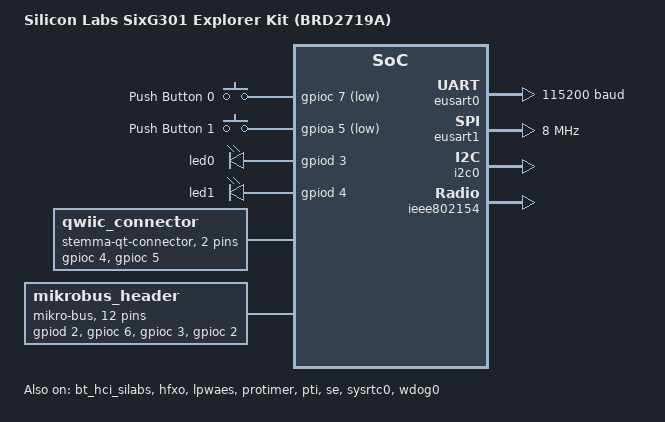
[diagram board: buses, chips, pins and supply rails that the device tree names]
/*
 * Copyright The Zephyr Project Contributors
 *
 * SPDX-License-Identifier: Apache-2.0
 */

/dts-v1/;
#include <silabs/six301/simg301m104lil.dtsi>
#include <silabs/six301/clock-hfxo.dtsi>
#include <silabs/six301/clock-socpll.dtsi>
#include <zephyr/dt-bindings/gpio/mikro-bus.h>
#include <zephyr/dt-bindings/input/input-event-codes.h>

#include "sixg301_ek2719a-pinctrl.dtsi"

/ {
	compatible = "silabs,sixg301_ek2719a";
	model = "Silicon Labs SixG301 Explorer Kit (BRD2719A)";

	aliases {
		led0 = &led0;
		led1 = &led1;
		sw0 = &button0;
		sw1 = &button1;
		watchdog0 = &wdog0;
	};

	buttons {
		compatible = "gpio-keys";

		button0: button_0 {
			gpios = <&gpioc 7 GPIO_ACTIVE_LOW>;
			label = "Push Button 0";
			zephyr,code = <INPUT_BTN_0>;
		};

		button1: button_1 {
			gpios = <&gpioa 5 GPIO_ACTIVE_LOW>;
			label = "Push Button 1";
			zephyr,code = <INPUT_BTN_1>;
		};
	};

	chosen {
		zephyr,bt-hci = &bt_hci_silabs;
		zephyr,code-partition = &slot0_partition;
		zephyr,console = &eusart0;
		zephyr,flash = &flash0;
		zephyr,ieee802154 = &ieee802154;
		zephyr,openthread-counter = &protimer;
		zephyr,shell-uart = &eusart0;
		zephyr,sram = &sram0;
		zephyr,uart-pipe = &eusart0;
	};

	leds {
		compatible = "gpio-leds";

		led0: led_0 {
			gpios = <&gpiod 3 GPIO_ACTIVE_HIGH>;
		};

		led1: led_1 {
			gpios = <&gpiod 4 GPIO_ACTIVE_HIGH>;
		};
	};

	qwiic_connector: stemma-qt-connector {
		compatible = "stemma-qt-connector";
		#gpio-cells = <2>;
		gpio-map-mask = <0xffffffff 0>;
		gpio-map-pass-thru = <0 GPIO_DT_FLAGS_MASK>;
		gpio-map = <0 0 &gpioc 4 0>, /* SCL */
			   <1 0 &gpioc 5 0>; /* SDA */
	};

	mikrobus_header: mikrobus-connector {
		compatible = "mikro-bus";
		#gpio-cells = <2>;
		gpio-map-mask = <0xffffffff 0>;
		gpio-map-pass-thru = <0 GPIO_DT_FLAGS_MASK>;
		gpio-map = <MIKROBUS_AN 0 &gpiod 2 0>,
			   <MIKROBUS_RST 0 &gpioc 6 0>,
			   <MIKROBUS_CS 0 &gpioc 3 0>,
			   <MIKROBUS_SCK 0 &gpioc 2 0>,
			   <MIKROBUS_MISO 0 &gpioc 1 0>,
			   <MIKROBUS_MOSI 0 &gpioc 0 0>,
			   <MIKROBUS_PWM 0 &gpiod 0 0>,
			   <MIKROBUS_INT 0 &gpiob 1 0>,
			   <MIKROBUS_RX 0 &gpioa 8 0>,
			   <MIKROBUS_TX 0 &gpioa 7 0>,
			   <MIKROBUS_SCL 0 &gpioc 4 0>,
			   <MIKROBUS_SDA 0 &gpioc 5 0>;
	};
};

&bt_hci_silabs {
	status = "okay";
};

&eusart0 {
	current-speed = <115200>;
	hw-flow-control;
	pinctrl-0 = <&eusart0_default>;
	pinctrl-names = "default";
	status = "okay";
};

&eusart1 {
	#address-cells = <1>;
	#size-cells = <0>;
	clock-frequency = <DT_FREQ_M(8)>;
	cs-gpios = <&gpioc 3 GPIO_ACTIVE_LOW>;
	pinctrl-0 = <&eusart1_default>;
	pinctrl-names = "default";
	status = "okay";
};

&flash0 {
	/* Adjust logical flash size to account for code regions consuming 36 kB physical flash
	 * memory per 32 kB logical memory, since the device enables AXiP for code regions by
	 * default:
	 *
	 *          | Logical | Physical
	 *     -----|---------|---------
	 *     SE   |         |  192 kB
	 *     Code | 2016 kB | 2268 kB
	 *     Data | 1636 kB | 1636 kB
	 *     -------------------------
	 *     Sum  | 3652 kB | 4096 kB
	 *
	 * If the region configuration of the device is modified, this partition table must be
	 * updated.
	 */
	reg = <0x11000000 DT_SIZE_K(3652)>;
	ranges = <0x0 0x11000000 DT_SIZE_K(3652)>;

	partitions {
		ranges;
		#address-cells = <1>;
		#size-cells = <1>;

		boot_partition: partition@0 {
			compatible = "zephyr,mapped-partition";
			reg = <0x0 DT_SIZE_K(32)>;
			label = "mcuboot";
		};

		slot0_partition: partition@8000 {
			compatible = "zephyr,mapped-partition";
			reg = <0x8000 DT_SIZE_K(1984)>;
			label = "image-0";
		};

		data_region: partition@1f8000 {
			compatible = "zephyr,mapped-partition";
			reg = <0x001f8000 DT_SIZE_K(1636)>;
			ranges = <0x0 0x001f8000 DT_SIZE_K(1636)>;
			#address-cells = <1>;
			#size-cells = <1>;

			storage_partition: partition@191000 {
				compatible = "zephyr,mapped-partition";
				reg = <0x00191000 DT_SIZE_K(32)>;
				label = "storage";
			};
		};
	};
};

&gpioa {
	status = "okay";
};

&gpiob {
	status = "okay";
};

&gpioc {
	status = "okay";
};

&gpiod {
	status = "okay";
};

&hfxo {
	ctune = <173>;
	precision = <50>;
	status = "okay";
};

mikrobus_i2c: &i2c0 {};

mikrobus_spi: &eusart1 {};

zephyr_i2c: &i2c0 {
	pinctrl-0 = <&i2c0_default>;
	pinctrl-names = "default";
	status = "okay";
};

&ieee802154 {
	hfxo = <&hfxo>;
	status = "okay";
};

&lpwaes {
	status = "okay";
};

&protimer {
	status = "okay";
};

&pti {
	pinctrl-0 = <&pti_default>;
	pinctrl-names = "default";
	status = "okay";
};

&se {
	status = "okay";
};

&sysrtc0 {
	status = "okay";
};

&wdog0 {
	status = "okay";
};
